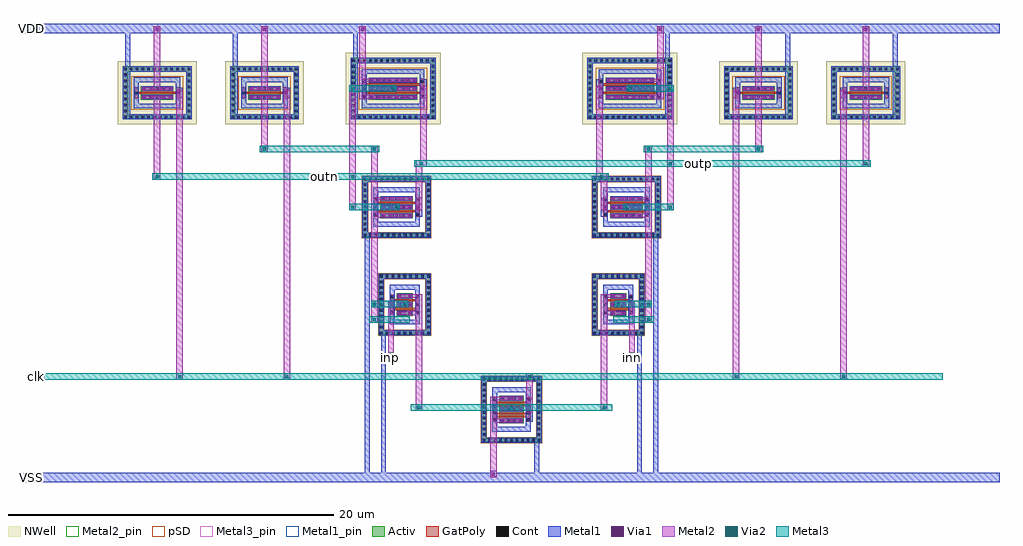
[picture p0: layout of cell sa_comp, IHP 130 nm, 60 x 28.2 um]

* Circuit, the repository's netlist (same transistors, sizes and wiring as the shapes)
* StrongARM comparator reference
.subckt sa_comp inp inn clk outp outn VDD VSS
M1 p inp tail VSS sg13_lv_nmos w=2.0u l=0.15u rfmode=1
M2 q inn tail VSS sg13_lv_nmos w=2.0u l=0.15u rfmode=1
M3 outn outp p VSS sg13_lv_nmos w=4.0u l=0.13u rfmode=1
M4 outp outn q VSS sg13_lv_nmos w=4.0u l=0.13u rfmode=1
MT tail clk VSS VSS sg13_lv_nmos w=3.0u l=0.3u rfmode=1
M5 outn outp VDD VDD sg13_lv_pmos w=6.0u l=0.13u rfmode=1
M6 outp outn VDD VDD sg13_lv_pmos w=6.0u l=0.13u rfmode=1
MS1 p clk VDD VDD sg13_lv_pmos w=2.0u l=0.13u rfmode=1
MS2 q clk VDD VDD sg13_lv_pmos w=2.0u l=0.13u rfmode=1
MS3 outn clk VDD VDD sg13_lv_pmos w=2.0u l=0.13u rfmode=1
MS4 outp clk VDD VDD sg13_lv_pmos w=2.0u l=0.13u rfmode=1
.ends

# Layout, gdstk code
from math import pi, radians
import gdstk
lib = gdstk.Library(unit=1e-6, precision=1e-09)
def R(c, l, rs):  # rectangles x0, y0, x1, y1
    for r in rs: c.add(gdstk.rectangle(r[:2], r[2:], *l))
def A(c, l, x, y, w, h, nx, ny, dx, dy):  # array of equal rectangles
    R(c, l, [(x+i*dx, y+j*dy, x+i*dx+w, y+j*dy+h) for i in range(nx) for j in range(ny)])
def P(c, l, *ps):  # polygons
    for p in ps: c.add(gdstk.Polygon(p, *l))
Activ = (1, 0)
GatPoly = (5, 0)
Cont = (6, 0)
Metal1 = (8, 0)
Metal1_pin = (8, 2)
Metal2 = (10, 0)
Metal2_pin = (10, 2)
pSD = (14, 0)
Via1 = (19, 0)
Via2 = (29, 0)
Metal3 = (30, 0)
Metal3_pin = (30, 2)
NWell = (31, 0)

rfnmos_2 = lib.new_cell('rfnmos$2')
R(rfnmos_2, Activ, [(1.14,1.245,2.64,2.915)])
P(rfnmos_2, Activ, [(0.03,0.03),(0.03,3.81),(0.35,3.81),(0.35,0.35),(3.43,0.35),(3.43,3.81),(0.03,3.81),(0.03,4.13),(3.75,4.13),(3.75,0.03)])
R(rfnmos_2, GatPoly, [(0.71,1.32,1.01,2.84), (2.77,1.32,3.07,2.84), (1.01,1.59,2.77,1.89), (1.01,2.27,2.77,2.57)])
A(rfnmos_2, Cont, 0.11, 0.11, 0.16, 0.16, 11, 2, 0.34, 3.78)
A(rfnmos_2, Cont, 0.11, 0.46, 0.16, 0.16, 1, 3, 0, 0.34)
A(rfnmos_2, Cont, 3.51, 0.46, 0.16, 0.16, 1, 3, 0, 0.34)
A(rfnmos_2, Cont, 1.24, 1.32, 0.16, 0.16, 4, 3, 0.38, 0.68)
A(rfnmos_2, Cont, 0.78, 1.39, 0.16, 0.16, 1, 3, 0, 0.405)
A(rfnmos_2, Cont, 2.84, 1.39, 0.16, 0.16, 1, 3, 0, 0.405)
R(rfnmos_2, Cont, [(0.11,1.485,0.27,1.645), (3.51,1.485,3.67,1.645), (0.11,1.825,0.27,1.985), (3.51,1.825,3.67,1.985), (0.11,2.17,0.27,2.33), (3.51,2.17,3.67,2.33), (0.11,2.51,0.27,2.67), (3.51,2.51,3.67,2.67), (0.78,2.61,0.94,2.77), (2.84,2.61,3,2.77), (0.11,2.855,0.27,3.015), (3.51,2.855,3.67,3.015), (0.11,3.195,0.27,3.355), (3.51,3.195,3.67,3.355), (0.11,3.54,0.27,3.7), (3.51,3.54,3.67,3.7)])
A(rfnmos_2, Metal1, 1.19, 1.26, 1.4, 0.28, 1, 3, 0, 0.68)
R(rfnmos_2, Metal1, [(0.03,0.03,3.75,0.35), (0.03,0.35,0.35,3.81), (3.43,0.35,3.75,3.81), (0.76,1.34,0.96,2.82), (2.82,1.34,3.02,2.82), (0.03,3.81,3.75,4.13)])
P(rfnmos_2, Metal1, [(0.71,0.71),(0.71,3.15),(1.01,3.15),(1.01,1.01),(2.77,1.01),(2.77,3.15),(0.71,3.15),(0.71,3.45),(3.07,3.45),(3.07,0.71)])
R(rfnmos_2, Metal1_pin, [(0.03,0.11,3.75,0.27), (0.03,0.11,3.75,0.27), (1.19,1.26,2.59,1.54), (1.19,1.26,2.59,1.54), (0.76,1.34,0.96,2.82), (0.76,1.34,0.96,2.82), (1.19,1.94,2.59,2.22), (1.19,1.94,2.59,2.22)])
A(rfnmos_2, Metal2, 1.19, 1.3, 1.4, 0.2, 1, 3, 0, 0.68)
P(rfnmos_2, pSD, [(0,0),(0,3.78),(0.38,3.78),(0.38,0.38),(3.4,0.38),(3.4,3.78),(0,3.78),(0,4.16),(3.78,4.16),(3.78,0)])
A(rfnmos_2, Via1, 1.24, 1.305, 0.19, 0.19, 3, 3, 0.555, 0.68)
rfnmos_2.add(gdstk.Label('S', (1.89,1.418), layer=63, texttype=0))
rfnmos_2.add(gdstk.Label('D', (1.89,2.097), layer=63, texttype=0))
rfnmos_2.add(gdstk.Label('G', (0.86,2.08), layer=63, texttype=0))
rfnmos_2.add(gdstk.Label('TIE', (1.89,0.19), layer=63, texttype=0))
rfnmos_2.add(gdstk.Label('rfnmos', (1.89,3.97), layer=63, texttype=0))

rfnmos = lib.new_cell('rfnmos')
R(rfnmos, Activ, [(1.14,1.245,2.14,2.615)])
P(rfnmos, Activ, [(0.03,0.03),(0.03,3.51),(0.35,3.51),(0.35,0.35),(2.93,0.35),(2.93,3.51),(0.03,3.51),(0.03,3.83),(3.25,3.83),(3.25,0.03)])
R(rfnmos, GatPoly, [(0.71,1.32,1.01,2.54), (2.27,1.32,2.57,2.54), (1.01,1.59,2.27,1.74), (1.01,2.12,2.27,2.27)])
A(rfnmos, Cont, 1.24, 1.32, 0.16, 0.16, 1, 3, 0, 0.53)
A(rfnmos, Cont, 1.88, 1.32, 0.16, 0.16, 1, 3, 0, 0.53)
A(rfnmos, Cont, 0.78, 1.39, 0.16, 0.16, 1, 3, 0, 0.46)
A(rfnmos, Cont, 2.34, 1.39, 0.16, 0.16, 1, 3, 0, 0.46)
A(rfnmos, Cont, 0.11, 2.89, 0.16, 0.16, 1, 3, 0, 0.35)
A(rfnmos, Cont, 3.01, 2.89, 0.16, 0.16, 1, 3, 0, 0.35)
R(rfnmos, Cont, [(0.11,0.11,0.27,0.27), (0.47,0.11,0.63,0.27), (0.835,0.11,0.995,0.27), (1.195,0.11,1.355,0.27), (1.56,0.11,1.72,0.27), (1.92,0.11,2.08,0.27), (2.285,0.11,2.445,0.27), (2.645,0.11,2.805,0.27), (3.01,0.11,3.17,0.27), (0.11,0.46,0.27,0.62), (3.01,0.46,3.17,0.62), (0.11,0.805,0.27,0.965), (3.01,0.805,3.17,0.965), (0.11,1.155,0.27,1.315), (3.01,1.155,3.17,1.315), (0.11,1.5,0.27,1.66), (3.01,1.5,3.17,1.66), (0.11,1.85,0.27,2.01), (3.01,1.85,3.17,2.01), (0.11,2.195,0.27,2.355), (3.01,2.195,3.17,2.355), (0.11,2.545,0.27,2.705), (3.01,2.545,3.17,2.705), (0.47,3.59,0.63,3.75), (0.835,3.59,0.995,3.75), (1.195,3.59,1.355,3.75), (1.56,3.59,1.72,3.75), (1.92,3.59,2.08,3.75), (2.285,3.59,2.445,3.75), (2.645,3.59,2.805,3.75)])
A(rfnmos, Metal1, 1.19, 1.26, 0.9, 0.28, 1, 3, 0, 0.53)
R(rfnmos, Metal1, [(0.03,0.03,3.25,0.35), (0.03,0.35,0.35,3.51), (2.93,0.35,3.25,3.51), (0.76,1.34,0.96,2.52), (2.32,1.34,2.52,2.52), (0.03,3.51,3.25,3.83)])
P(rfnmos, Metal1, [(0.71,0.71),(0.71,2.85),(1.01,2.85),(1.01,1.01),(2.27,1.01),(2.27,2.85),(0.71,2.85),(0.71,3.15),(2.57,3.15),(2.57,0.71)])
R(rfnmos, Metal1_pin, [(0.03,0.11,3.25,0.27), (0.03,0.11,3.25,0.27), (1.19,1.26,2.09,1.54), (1.19,1.26,2.09,1.54), (0.76,1.34,0.96,2.52), (0.76,1.34,0.96,2.52), (1.19,1.79,2.09,2.07), (1.19,1.79,2.09,2.07)])
A(rfnmos, Metal2, 1.19, 1.3, 0.9, 0.2, 1, 3, 0, 0.53)
P(rfnmos, pSD, [(0,0),(0,3.48),(0.38,3.48),(0.38,0.38),(2.9,0.38),(2.9,3.48),(0,3.48),(0,3.86),(3.28,3.86),(3.28,0)])
A(rfnmos, Via1, 1.24, 1.305, 0.19, 0.19, 1, 3, 0, 0.53)
A(rfnmos, Via1, 1.85, 1.305, 0.19, 0.19, 1, 3, 0, 0.53)
rfnmos.add(gdstk.Label('S', (1.64,1.418), layer=63, texttype=0))
rfnmos.add(gdstk.Label('D', (1.64,1.947), layer=63, texttype=0))
rfnmos.add(gdstk.Label('G', (0.86,1.93), layer=63, texttype=0))
rfnmos.add(gdstk.Label('TIE', (1.64,0.19), layer=63, texttype=0))
rfnmos.add(gdstk.Label('rfnmos', (1.64,3.67), layer=63, texttype=0))

rfnmos_1 = lib.new_cell('rfnmos$1')
R(rfnmos_1, Activ, [(1.14,1.245,3.14,2.595)])
P(rfnmos_1, Activ, [(0.03,0.03),(0.03,3.49),(0.35,3.49),(0.35,0.35),(3.93,0.35),(3.93,3.49),(0.03,3.49),(0.03,3.81),(4.25,3.81),(4.25,0.03)])
R(rfnmos_1, GatPoly, [(0.71,1.32,1.01,2.52), (3.27,1.32,3.57,2.52), (1.01,1.595,3.27,1.725), (1.01,2.115,3.27,2.245)])
A(rfnmos_1, Cont, 0.46, 0.11, 0.16, 0.16, 11, 2, 0.355, 3.46)
A(rfnmos_1, Cont, 0.11, 0.46, 0.16, 0.16, 1, 9, 0, 0.345)
A(rfnmos_1, Cont, 4.01, 0.46, 0.16, 0.16, 1, 9, 0, 0.345)
A(rfnmos_1, Cont, 1.24, 1.32, 0.16, 0.16, 5, 3, 0.41, 0.52)
A(rfnmos_1, Cont, 0.78, 1.39, 0.16, 0.16, 1, 3, 0, 0.45)
A(rfnmos_1, Cont, 3.34, 1.39, 0.16, 0.16, 1, 3, 0, 0.45)
R(rfnmos_1, Cont, [(0.11,0.11,0.27,0.27), (0.11,3.57,0.27,3.73)])
A(rfnmos_1, Metal1, 1.19, 1.26, 1.9, 0.28, 1, 3, 0, 0.52)
R(rfnmos_1, Metal1, [(0.03,0.03,4.25,0.35), (0.03,0.35,0.35,3.49), (3.93,0.35,4.25,3.49), (0.76,1.34,0.96,2.5), (3.32,1.34,3.52,2.5), (0.03,3.49,4.25,3.81)])
P(rfnmos_1, Metal1, [(0.71,0.71),(0.71,2.83),(1.01,2.83),(1.01,1.01),(3.27,1.01),(3.27,2.83),(0.71,2.83),(0.71,3.13),(3.57,3.13),(3.57,0.71)])
R(rfnmos_1, Metal1_pin, [(0.03,0.11,4.25,0.27), (0.03,0.11,4.25,0.27), (1.19,1.26,3.09,1.54), (1.19,1.26,3.09,1.54), (0.76,1.34,0.96,2.5), (0.76,1.34,0.96,2.5), (1.19,1.78,3.09,2.06), (1.19,1.78,3.09,2.06)])
A(rfnmos_1, Metal2, 1.19, 1.3, 1.9, 0.2, 1, 3, 0, 0.52)
P(rfnmos_1, pSD, [(0,0),(0,3.46),(0.38,3.46),(0.38,0.38),(3.9,0.38),(3.9,3.46),(0,3.46),(0,3.84),(4.28,3.84),(4.28,0)])
A(rfnmos_1, Via1, 1.24, 1.305, 0.19, 0.19, 3, 3, 0.535, 0.52)
A(rfnmos_1, Via1, 2.85, 1.305, 0.19, 0.19, 1, 3, 0, 0.52)
rfnmos_1.add(gdstk.Label('S', (2.14,1.42), layer=63, texttype=0))
rfnmos_1.add(gdstk.Label('D', (2.14,1.94), layer=63, texttype=0))
rfnmos_1.add(gdstk.Label('G', (0.86,1.92), layer=63, texttype=0))
rfnmos_1.add(gdstk.Label('TIE', (2.14,0.19), layer=63, texttype=0))
rfnmos_1.add(gdstk.Label('rfnmos', (2.14,3.65), layer=63, texttype=0))

rfpmos = lib.new_cell('rfpmos')
R(rfpmos, Activ, [(1.42,1.525,4.42,2.875)])
P(rfpmos, Activ, [(0.31,0.31),(0.31,3.77),(0.63,3.77),(0.63,0.63),(5.21,0.63),(5.21,3.77),(0.31,3.77),(0.31,4.09),(5.53,4.09),(5.53,0.31)])
R(rfpmos, GatPoly, [(0.99,1.6,1.29,2.8), (4.55,1.6,4.85,2.8), (1.29,1.875,4.55,2.005), (1.29,2.395,4.55,2.525)])
A(rfpmos, Cont, 0.39, 0.39, 0.16, 0.16, 15, 2, 0.35, 3.46)
A(rfpmos, Cont, 0.39, 0.74, 0.16, 0.16, 1, 9, 0, 0.345)
A(rfpmos, Cont, 5.29, 0.74, 0.16, 0.16, 1, 9, 0, 0.345)
A(rfpmos, Cont, 1.52, 1.6, 0.16, 0.16, 3, 3, 0.375, 0.52)
A(rfpmos, Cont, 2.65, 1.6, 0.16, 0.16, 1, 3, 0, 0.52)
A(rfpmos, Cont, 3.025, 1.6, 0.16, 0.16, 1, 3, 0, 0.52)
A(rfpmos, Cont, 3.405, 1.6, 0.16, 0.16, 1, 3, 0, 0.52)
A(rfpmos, Cont, 3.78, 1.6, 0.16, 0.16, 1, 3, 0, 0.52)
A(rfpmos, Cont, 4.16, 1.6, 0.16, 0.16, 1, 3, 0, 0.52)
A(rfpmos, Cont, 1.06, 1.67, 0.16, 0.16, 1, 3, 0, 0.45)
A(rfpmos, Cont, 4.62, 1.67, 0.16, 0.16, 1, 3, 0, 0.45)
A(rfpmos, Metal1, 1.47, 1.54, 2.9, 0.28, 1, 3, 0, 0.52)
R(rfpmos, Metal1, [(0.31,0.31,5.53,0.63), (0.31,0.63,0.63,3.77), (5.21,0.63,5.53,3.77), (1.04,1.62,1.24,2.78), (4.6,1.62,4.8,2.78), (0.31,3.77,5.53,4.09)])
P(rfpmos, Metal1, [(0.99,0.99),(0.99,3.11),(1.29,3.11),(1.29,1.29),(4.55,1.29),(4.55,3.11),(0.99,3.11),(0.99,3.41),(4.85,3.41),(4.85,0.99)])
R(rfpmos, Metal1_pin, [(0.31,0.39,5.53,0.55), (0.31,0.39,5.53,0.55), (1.47,1.54,4.37,1.82), (1.47,1.54,4.37,1.82), (1.04,1.62,1.24,2.78), (1.04,1.62,1.24,2.78), (1.47,2.06,4.37,2.34), (1.47,2.06,4.37,2.34)])
A(rfpmos, Metal2, 1.47, 1.58, 2.9, 0.2, 1, 3, 0, 0.52)
R(rfpmos, pSD, [(0.81,0.91,5.03,3.49)])
A(rfpmos, Via1, 1.52, 1.585, 0.19, 0.19, 3, 3, 0.52, 0.52)
A(rfpmos, Via1, 3.085, 1.585, 0.19, 0.19, 1, 3, 0, 0.52)
A(rfpmos, Via1, 3.605, 1.585, 0.19, 0.19, 1, 3, 0, 0.52)
A(rfpmos, Via1, 4.13, 1.585, 0.19, 0.19, 1, 3, 0, 0.52)
R(rfpmos, NWell, [(0,0,5.84,4.4)])
rfpmos.add(gdstk.Label('S', (2.92,1.7), layer=63, texttype=0))
rfpmos.add(gdstk.Label('D', (2.92,2.22), layer=63, texttype=0))
rfpmos.add(gdstk.Label('G', (1.14,2.2), layer=63, texttype=0))
rfpmos.add(gdstk.Label('TIE', (2.92,0.47), layer=63, texttype=0))
rfpmos.add(gdstk.Label('rfpmos', (2.92,3.93), layer=63, texttype=0))

rfpmos_1 = lib.new_cell('rfpmos$1')
R(rfpmos_1, Activ, [(1.42,1.525,3.42,2.355)])
P(rfpmos_1, Activ, [(0.31,0.31),(0.31,3.25),(0.63,3.25),(0.63,0.63),(4.21,0.63),(4.21,3.25),(0.31,3.25),(0.31,3.57),(4.53,3.57),(4.53,0.31)])
R(rfpmos_1, GatPoly, [(0.99,1.6,1.29,2.28), (3.55,1.6,3.85,2.28), (1.29,1.875,3.55,2.005)])
A(rfpmos_1, Cont, 0.74, 0.39, 0.16, 0.16, 11, 2, 0.355, 2.94)
A(rfpmos_1, Cont, 0.39, 1.11, 0.16, 0.16, 1, 3, 0, 0.375)
A(rfpmos_1, Cont, 4.29, 1.11, 0.16, 0.16, 1, 3, 0, 0.375)
A(rfpmos_1, Cont, 1.52, 1.6, 0.16, 0.16, 5, 2, 0.41, 0.52)
A(rfpmos_1, Cont, 0.39, 2.23, 0.16, 0.16, 1, 3, 0, 0.375)
A(rfpmos_1, Cont, 4.29, 2.23, 0.16, 0.16, 1, 3, 0, 0.375)
R(rfpmos_1, Cont, [(0.39,0.39,0.55,0.55), (0.39,0.74,0.55,0.9), (4.29,0.74,4.45,0.9), (1.06,1.86,1.22,2.02), (3.62,1.86,3.78,2.02), (0.39,3.33,0.55,3.49)])
R(rfpmos_1, Metal1, [(0.31,0.31,4.53,0.63), (0.31,0.63,0.63,3.25), (4.21,0.63,4.53,3.25), (1.47,1.54,3.37,1.82), (1.04,1.62,1.24,2.26), (3.6,1.62,3.8,2.26), (1.47,2.06,3.37,2.34), (0.31,3.25,4.53,3.57)])
P(rfpmos_1, Metal1, [(0.99,0.99),(0.99,2.59),(1.29,2.59),(1.29,1.29),(3.55,1.29),(3.55,2.59),(0.99,2.59),(0.99,2.89),(3.85,2.89),(3.85,0.99)])
R(rfpmos_1, Metal1_pin, [(0.31,0.39,4.53,0.55), (0.31,0.39,4.53,0.55), (1.47,1.54,3.37,1.82), (1.47,1.54,3.37,1.82), (1.04,1.62,1.24,2.26), (1.04,1.62,1.24,2.26), (1.47,2.06,3.37,2.34), (1.47,2.06,3.37,2.34)])
R(rfpmos_1, Metal2, [(1.47,1.58,3.37,1.78), (1.47,2.1,3.37,2.3)])
R(rfpmos_1, pSD, [(0.81,0.91,4.03,2.97)])
A(rfpmos_1, Via1, 1.52, 1.585, 0.19, 0.19, 3, 2, 0.535, 0.52)
R(rfpmos_1, Via1, [(3.13,1.585,3.32,1.775), (3.13,2.105,3.32,2.295)])
R(rfpmos_1, NWell, [(0,0,4.84,3.88)])
rfpmos_1.add(gdstk.Label('S', (2.42,1.7), layer=63, texttype=0))
rfpmos_1.add(gdstk.Label('D', (2.42,2.22), layer=63, texttype=0))
rfpmos_1.add(gdstk.Label('G', (1.14,1.94), layer=63, texttype=0))
rfpmos_1.add(gdstk.Label('TIE', (2.42,0.47), layer=63, texttype=0))
rfpmos_1.add(gdstk.Label('rfpmos', (2.42,3.41), layer=63, texttype=0))

sa_comp = lib.new_cell('sa_comp')
R(sa_comp, Metal1, [(-30,-2.4,30,-1.8), (-1.32,-2.1,-0.92,-1.7), (-9.02,-1.8,-8.72,12.83), (-8.02,-1.8,-7.72,6.83), (1.41,-1.8,1.71,0.23), (7.72,-1.8,8.02,6.83), (8.72,-1.8,9.02,12.83), (0.92,1.34,1.32,2.82), (-7.58,8.36,-7.24,8.74), (7.24,8.36,7.58,8.74), (-5.89,13.94,-5.49,15.1), (5.49,13.94,5.89,15.1), (-23.74,20.04,-23.44,25.2), (-17.14,20.04,-16.84,25.2), (-9.74,20.04,-9.44,25.2), (9.44,20.04,9.74,25.2), (16.84,20.04,17.14,25.2), (23.44,20.04,23.74,25.2), (-20.61,21.22,-20.21,21.86), (-14.01,21.22,-13.61,21.86), (-5.61,21.22,-5.21,22.38), (5.21,21.22,5.61,22.38), (13.61,21.22,14.01,21.86), (20.21,21.22,20.61,21.86), (-30,25.2,30,25.8), (-21.98,25.25,-21.58,25.65), (-15.38,25.25,-14.98,25.65), (-9.35,25.25,-8.95,25.65), (8.95,25.25,9.35,25.65), (14.98,25.25,15.38,25.65), (21.58,25.25,21.98,25.65)])
R(sa_comp, Metal1_pin, [(-30,-2.3,-29,-1.9), (-30,25.3,-29,25.7)])
A(sa_comp, Metal2, -5.89, 2, 0.4, 0.4, 3, 1, 5.69, 0)
R(sa_comp, Metal2, [(-1.32,-2.1,-0.92,-1.7), (-1.32,-1.95,-0.92,1.36), (-1.32,1.26,-0.4,1.54), (-1.32,1.26,-0.92,2.86), (0.92,1.89,1.32,2.27), (0.92,2.08,1.32,4.1), (-0.2,2.12,0.2,2.2), (-5.89,2.2,-5.49,8.06), (5.49,2.2,5.89,8.06), (-1.32,2.66,-0.4,2.86), (-20.61,3.9,-20.21,4.3), (-14.01,3.9,-13.61,4.3), (0.92,3.9,1.32,4.3), (13.61,3.9,14.01,4.3), (20.21,3.9,20.61,4.3), (-20.61,4.1,-20.21,21.54), (-14.01,4.1,-13.61,21.54), (13.61,4.1,14.01,21.54), (20.21,4.1,20.61,21.54), (-7.58,5,-7.24,8.55), (7.24,5,7.58,8.55), (-8.63,7.4,-8.23,7.8), (8.23,7.4,8.63,7.8), (-8.63,7.6,-8.23,14.06), (8.23,7.6,8.63,14.06), (-6.41,7.86,-5.49,8.14), (-5.89,7.86,-5.49,9.16), (5.49,7.86,6.41,8.14), (5.49,7.86,5.89,9.16), (-8.63,8.35,-8.23,8.75), (-6.76,8.35,-6.36,8.75), (6.36,8.35,6.76,8.75), (8.23,8.35,8.63,8.75), (-7.58,8.36,-7.24,8.74), (7.24,8.36,7.58,8.74), (-6.41,8.96,-5.49,9.16), (5.49,8.96,6.41,9.16), (-8.63,13.86,-7.71,14.14), (-8.63,13.86,-8.23,15.14), (7.71,13.86,8.63,14.14), (8.23,13.86,8.63,15.14), (-9.97,14.32,-9.57,14.72), (-7.26,14.32,-6.86,14.72), (6.86,14.32,7.26,14.72), (9.57,14.32,9.97,14.72), (-5.89,14.33,-5.49,14.71), (5.49,14.33,5.89,14.71), (-9.97,14.52,-9.57,21.8), (-5.89,14.52,-5.49,17), (5.49,14.52,5.89,16.2), (9.57,14.52,9.97,21.8), (-8.63,14.94,-7.71,15.14), (-8.63,14.94,-8.23,18.1), (7.71,14.94,8.63,15.14), (8.23,14.94,8.63,18.1), (-21.98,16.2,-21.58,16.6), (-21.98,16.2,-21.58,21.34), (-9.97,16.2,-9.57,16.6), (5.21,16.2,5.61,21.8), (5.21,16.2,5.89,16.6), (5.35,16.2,5.75,16.6), (-5.89,17,-5.21,17.4), (-5.75,17,-5.35,17.4), (-5.61,17,-5.21,21.8), (9.57,17,9.97,17.4), (21.58,17,21.98,17.4), (21.58,17,21.98,21.34), (-15.38,17.9,-14.98,18.3), (-8.63,17.9,-8.23,18.3), (8.23,17.9,8.63,18.3), (14.98,17.9,15.38,18.3), (-15.38,18.1,-14.98,21.34), (14.98,18.1,15.38,21.34), (-9.35,21.14,-8.43,21.42), (-9.35,21.14,-8.95,22.42), (8.43,21.14,9.35,21.42), (8.95,21.14,9.35,22.42), (-20.61,21.35,-20.21,21.73), (-14.01,21.35,-13.61,21.73), (13.61,21.35,14.01,21.73), (20.21,21.35,20.61,21.73), (-9.97,21.6,-9.57,22), (-7.48,21.6,-7.08,22), (7.08,21.6,7.48,22), (9.57,21.6,9.97,22), (-5.61,21.61,-5.21,21.99), (5.21,21.61,5.61,21.99), (-21.98,21.84,-21.58,25.45), (-15.38,21.84,-14.98,25.45), (14.98,21.84,15.38,25.45), (21.58,21.84,21.98,25.45), (-9.35,22.22,-8.43,22.42), (8.43,22.22,9.35,22.42), (-9.35,22.32,-8.95,25.45), (8.95,22.32,9.35,25.45), (-21.98,25.25,-21.58,25.65), (-15.38,25.25,-14.98,25.65), (-9.35,25.25,-8.95,25.65), (8.95,25.25,9.35,25.65), (14.98,25.25,15.38,25.65), (21.58,25.25,21.98,25.65)])
R(sa_comp, Metal2_pin, [(-7.58,5,-7.24,5.6), (7.24,5,7.58,5.6)])
R(sa_comp, Via1, [(-1.21,-2,-1.02,-1.81), (0.935,1.985,1.125,2.175), (-7.495,8.455,-7.305,8.645), (7.305,8.455,7.495,8.645), (-5.875,14.425,-5.685,14.615), (5.685,14.425,5.875,14.615), (-20.595,21.445,-20.405,21.635), (-13.995,21.445,-13.805,21.635), (13.805,21.445,13.995,21.635), (20.405,21.445,20.595,21.635), (-5.595,21.705,-5.405,21.895), (5.405,21.705,5.595,21.895), (-21.88,25.36,-21.69,25.55), (-15.28,25.36,-15.09,25.55), (-9.24,25.36,-9.05,25.55), (9.05,25.36,9.24,25.55), (15.08,25.36,15.27,25.55), (21.68,25.36,21.87,25.55)])
R(sa_comp, Via2, [(-5.78,2.1,-5.59,2.29), (-0.1,2.1,0.09,2.29), (5.6,2.1,5.79,2.29), (-20.5,4,-20.31,4.19), (-13.91,4,-13.72,4.19), (1.03,4,1.22,4.19), (13.72,4,13.91,4.19), (20.32,4,20.51,4.19), (-8.52,7.51,-8.33,7.7), (8.33,7.51,8.52,7.7), (-8.52,8.46,-8.33,8.65), (-6.65,8.46,-6.46,8.65), (6.46,8.46,6.65,8.65), (8.33,8.46,8.52,8.65), (-9.86,14.42,-9.67,14.61), (-7.15,14.42,-6.96,14.61), (6.96,14.42,7.15,14.61), (9.67,14.42,9.86,14.61), (-21.88,16.3,-21.69,16.49), (-9.86,16.3,-9.67,16.49), (5.45,16.3,5.64,16.49), (-5.64,17.1,-5.45,17.29), (9.67,17.1,9.86,17.29), (21.68,17.1,21.87,17.29), (-15.28,18,-15.09,18.19), (-8.52,18,-8.33,18.19), (8.33,18,8.52,18.19), (15.08,18,15.27,18.19), (-9.86,21.7,-9.67,21.89), (-7.37,21.7,-7.18,21.89), (7.18,21.7,7.37,21.89), (9.67,21.7,9.86,21.89)])
A(sa_comp, Metal3, -5.89, 2, 0.4, 0.4, 3, 1, 5.69, 0)
R(sa_comp, Metal3, [(-6.2,2,6.2,2.4), (-29.7,3.9,26.5,4.3), (-20.61,3.9,-20.21,4.3), (-14.01,3.9,-13.61,4.3), (0.92,3.9,1.32,4.3), (13.61,3.9,14.01,4.3), (20.21,3.9,20.61,4.3), (-8.73,7.4,-6.26,7.8), (-8.63,7.4,-8.23,7.8), (6.26,7.4,8.73,7.8), (8.23,7.4,8.63,7.8), (-8.63,8.35,-8.23,8.75), (-8.63,8.35,-6.36,8.75), (-6.76,8.35,-6.36,8.75), (6.36,8.35,6.76,8.75), (6.36,8.35,8.63,8.75), (8.23,8.35,8.63,8.75), (-9.97,14.32,-9.57,14.72), (-9.97,14.32,-6.86,14.72), (-7.26,14.32,-6.86,14.72), (6.86,14.32,7.26,14.72), (6.86,14.32,9.97,14.72), (9.57,14.32,9.97,14.72), (-22.08,16.2,5.99,16.6), (-21.98,16.2,-21.58,16.6), (-9.97,16.2,-9.57,16.6), (5.35,16.2,5.75,16.6), (-5.99,17,22.08,17.4), (-5.75,17,-5.35,17.4), (9.57,17,9.97,17.4), (21.58,17,21.98,17.4), (-15.48,17.9,-8.13,18.3), (-15.38,17.9,-14.98,18.3), (-8.63,17.9,-8.23,18.3), (8.13,17.9,15.48,18.3), (8.23,17.9,8.63,18.3), (14.98,17.9,15.38,18.3), (-9.97,21.6,-9.57,22), (-9.97,21.6,-7.08,22), (-7.48,21.6,-7.08,22), (7.08,21.6,7.48,22), (7.08,21.6,9.97,22), (9.57,21.6,9.97,22)])
R(sa_comp, Metal3_pin, [(-29.7,3.9,-28.7,4.3), (-12,16.2,-11,16.6), (11,17,12,17.4)])
sa_comp.add(gdstk.Reference(rfnmos_2, (-1.89,0)))
sa_comp.add(gdstk.Reference(rfnmos, (-8.2,6.6)))
sa_comp.add(gdstk.Reference(rfnmos, (8.2,6.6), rotation=pi, x_reflection=True))
sa_comp.add(gdstk.Reference(rfnmos_1, (-9.2,12.6)))
sa_comp.add(gdstk.Reference(rfnmos_1, (9.2,12.6), rotation=pi, x_reflection=True))
sa_comp.add(gdstk.Reference(rfpmos, (-10.2,19.6)))
sa_comp.add(gdstk.Reference(rfpmos, (10.2,19.6), rotation=pi, x_reflection=True))
sa_comp.add(gdstk.Reference(rfpmos_1, (-17.6,19.6)))
sa_comp.add(gdstk.Reference(rfpmos_1, (17.6,19.6), rotation=pi, x_reflection=True))
sa_comp.add(gdstk.Reference(rfpmos_1, (-24.2,19.6)))
sa_comp.add(gdstk.Reference(rfpmos_1, (24.2,19.6), rotation=pi, x_reflection=True))
sa_comp.add(gdstk.Label('VSS', (-29.5,-2.1), layer=8, texttype=25))
sa_comp.add(gdstk.Label('VDD', (-29.5,25.5), layer=8, texttype=25))
sa_comp.add(gdstk.Label('inp', (-7.41,5.3), layer=10, texttype=25))
sa_comp.add(gdstk.Label('inn', (7.41,5.3), layer=10, texttype=25))
sa_comp.add(gdstk.Label('outn', (-11.5,16.4), layer=30, texttype=25))
sa_comp.add(gdstk.Label('outp', (11.5,17.2), layer=30, texttype=25))
sa_comp.add(gdstk.Label('clk', (-29.2,4.1), layer=30, texttype=25))

lib.write_gds('sa_comp.gds')
